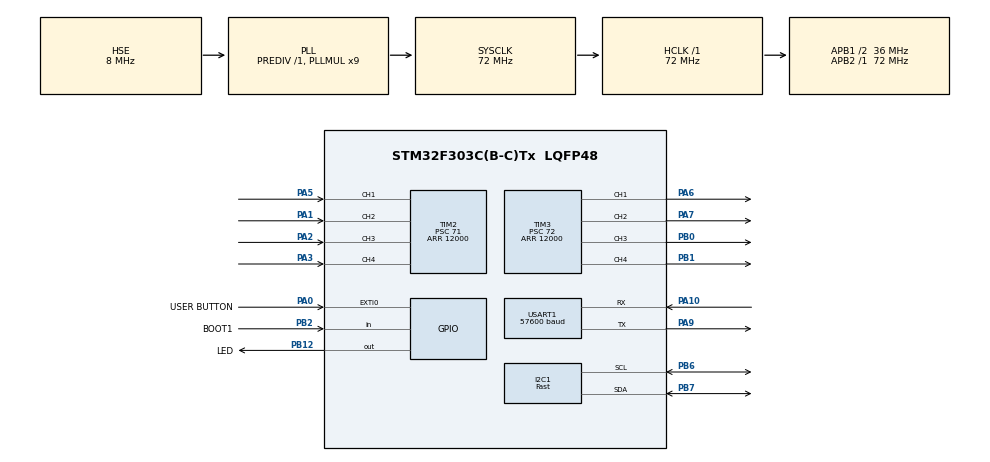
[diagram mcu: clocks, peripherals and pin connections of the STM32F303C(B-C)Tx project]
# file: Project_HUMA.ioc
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I2C1.I2C_Fall_Time=50
I2C1.I2C_Rise_Time=100
I2C1.I2C_Speed_Mode=I2C_Fast
I2C1.Timing=0x0010020A
Mcu.Family=STM32F3
Mcu.Name=STM32F303C(B-C)Tx
Mcu.Package=LQFP48
NVIC.I2C1_ER_IRQn=true\:0\:0\:false\:false\:true\:true\:true
NVIC.I2C1_EV_IRQn=true\:0\:0\:false\:false\:true\:true\:true
NVIC.PriorityGroup=NVIC_PRIORITYGROUP_4
NVIC.TIM2_IRQn=true\:0\:0\:false\:false\:true\:true\:true
NVIC.TIM3_IRQn=true\:0\:0\:false\:false\:true\:true\:true
NVIC.USART1_IRQn=true\:0\:0\:false\:false\:true\:true\:true
PA0.GPIO_Label=USER BUTTON
PA0.GPIO_ModeDefaultEXTI=GPIO_MODE_EVT_RISING
PA0.Signal=GPXTI0
PA1.GPIO_Speed=GPIO_SPEED_FREQ_HIGH
PA1.Signal=S_TIM2_CH2
PA10.Mode=Asynchronous
PA10.Signal=USART1_RX
PA13.Mode=Serial_Wire
PA13.Signal=SYS_JTMS-SWDIO
PA14.Mode=Serial_Wire
PA14.Signal=SYS_JTCK-SWCLK
PA2.GPIO_Speed=GPIO_SPEED_FREQ_HIGH
PA2.Signal=S_TIM2_CH3
PA3.GPIO_Speed=GPIO_SPEED_FREQ_HIGH
PA3.Signal=S_TIM2_CH4
PA5.GPIO_Speed=GPIO_SPEED_FREQ_HIGH
PA5.Signal=S_TIM2_CH1_ETR
PA6.GPIO_Speed=GPIO_SPEED_FREQ_HIGH
PA6.Signal=S_TIM3_CH1
PA7.GPIO_Speed=GPIO_SPEED_FREQ_HIGH
PA7.Signal=S_TIM3_CH2
PA9.Mode=Asynchronous
PA9.Signal=USART1_TX
PB0.GPIO_Speed=GPIO_SPEED_FREQ_HIGH
PB0.Signal=S_TIM3_CH3
PB1.GPIO_Speed=GPIO_SPEED_FREQ_HIGH
PB1.Signal=S_TIM3_CH4
PB12.GPIO_Label=LED
PB12.Signal=GPIO_Output
PB2.GPIO_Label=BOOT1
PB2.Signal=GPIO_Input
PB6.GPIO_FM6=SYSCFG_CFGR1_I2C_PB6_FMP
PB6.Mode=I2C
PB6.Signal=I2C1_SCL
PB7.GPIO_FM7=SYSCFG_CFGR1_I2C_PB7_FMP
PB7.Mode=I2C
PB7.Signal=I2C1_SDA
PC14-OSC32_IN.Mode=LSE-External-Oscillator
PC14-OSC32_IN.Signal=RCC_OSC32_IN
PC15-OSC32_OUT.Mode=LSE-External-Oscillator
PC15-OSC32_OUT.Signal=RCC_OSC32_OUT
PF0-OSC_IN.Mode=HSE-External-Oscillator
PF0-OSC_IN.Signal=RCC_OSC_IN
PF1-OSC_OUT.Mode=HSE-External-Oscillator
PF1-OSC_OUT.Signal=RCC_OSC_OUT
ProjectManager.HeapSize=0x200
ProjectManager.StackSize=0x400
ProjectManager.TargetToolchain=STM32CubeIDE
RCC.AHBFreq_Value=72000000
RCC.APB1CLKDivider=RCC_HCLK_DIV2
RCC.APB1Freq_Value=36000000
RCC.APB1TimFreq_Value=72000000
RCC.APB2Freq_Value=72000000
RCC.APB2TimFreq_Value=72000000
RCC.CortexFreq_Value=72000000
RCC.HCLKFreq_Value=72000000
RCC.HSE_VALUE=8000000
RCC.HSI_VALUE=8000000
RCC.PLLMUL=RCC_PLL_MUL9
RCC.PLLSourceVirtual=RCC_PLLSOURCE_HSE
RCC.SYSCLKFreq_VALUE=72000000
RCC.SYSCLKSourceVirtual=RCC_SYSCLKSOURCE_PLLCLK
RCC.USBFreq_Value=72000000
SH.S_TIM2_CH1_ETR.0=TIM2_CH1,Input_Capture1_from_TI1
SH.S_TIM2_CH2.0=TIM2_CH2,Input_Capture2_from_TI2
SH.S_TIM2_CH3.0=TIM2_CH3,Input_Capture3_from_TI3
SH.S_TIM2_CH4.0=TIM2_CH4,Input_Capture4_from_TI4
SH.S_TIM3_CH1.0=TIM3_CH1,PWM Generation1 CH1
SH.S_TIM3_CH2.0=TIM3_CH2,PWM Generation2 CH2
SH.S_TIM3_CH3.0=TIM3_CH3,PWM Generation3 CH3
SH.S_TIM3_CH4.0=TIM3_CH4,PWM Generation4 CH4
TIM2.Channel-Input_Capture1_from_TI1=TIM_CHANNEL_1
TIM2.Channel-Input_Capture2_from_TI2=TIM_CHANNEL_2
TIM2.Channel-Input_Capture3_from_TI3=TIM_CHANNEL_3
TIM2.Channel-Input_Capture4_from_TI4=TIM_CHANNEL_4
TIM2.Period=12000
TIM2.Prescaler=71
TIM3.Channel-PWM\ Generation1\ CH1=TIM_CHANNEL_1
TIM3.Channel-PWM\ Generation2\ CH2=TIM_CHANNEL_2
TIM3.Channel-PWM\ Generation3\ CH3=TIM_CHANNEL_3
TIM3.Channel-PWM\ Generation4\ CH4=TIM_CHANNEL_4
TIM3.OCFastMode_PWM-PWM\ Generation1\ CH1=TIM_OCFAST_ENABLE
TIM3.OCFastMode_PWM-PWM\ Generation2\ CH2=TIM_OCFAST_ENABLE
TIM3.OCFastMode_PWM-PWM\ Generation3\ CH3=TIM_OCFAST_ENABLE
TIM3.OCFastMode_PWM-PWM\ Generation4\ CH4=TIM_OCFAST_ENABLE
TIM3.Period=12000
TIM3.Prescaler=72
TIM3.Pulse-PWM\ Generation1\ CH1=1000
TIM3.Pulse-PWM\ Generation2\ CH2=1000
TIM3.Pulse-PWM\ Generation3\ CH3=1000
TIM3.Pulse-PWM\ Generation4\ CH4=1000
USART1.BaudRate=57600
USART1.VirtualMode-Asynchronous=VM_ASYNC
VP_TIM3_VS_ClockSourceINT.Mode=Internal
board=custom

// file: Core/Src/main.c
/* USER CODE BEGIN Header */
/**
  ******************************************************************************
  * @file           : main.c
  * @brief          : Main program body
  ******************************************************************************
  * @attention
  *
  * <h2><center>&copy; Copyright (c) 2020 STMicroelectronics.
  * All rights reserved.</center></h2>
  *
  * This software component is licensed by ST under BSD 3-Clause license,
  * the "License"; You may not use this file except in compliance with the
  * License. You may obtain a copy of the License at:
  *                        opensource.org/licenses/BSD-3-Clause
  *
  ******************************************************************************
  */
/* USER CODE END Header */
#include "main.h"

/* USER CODE BEGIN Includes */
#include "PWM_IC.h"
#include "L3GD20H.h"
///
#include "Setup_FC.h"
#include "ESC_Calibration.h"
#include "Flight_Control.h"

/* USER CODE END Includes */

/* USER CODE BEGIN PTD */
char uartTX[101];
///	Inputs
int receiver_input_channel_1, receiver_input_channel_2, receiver_input_channel_3, receiver_input_channel_4;
int16_t gX_Raw, gY_Raw, gZ_Raw;
///
bool gyro_error;
bool setup_error;
///	Outputs
int esc_1, esc_2, esc_3, esc_4;
double gyro_pitch, gyro_roll, gyro_yaw;
///
uint8_t eeprom_data8[32] = {0,0,0,0,0,0,0,0,0,0,0,0,0,0,0,0,0,0,0,0,0,0,0,0,0,0,0,0,0,0,0,0};
uint16_t eeprom_data16[32] = {0,0,0,0,0,0,0,0,0,0,0,0,0,0,0,0,0,0,0,0,0,0,0,0,0,0,0,0,0,0,0,0};
/* USER CODE END PTD */

I2C_HandleTypeDef hi2c1;

TIM_HandleTypeDef htim2;
TIM_HandleTypeDef htim3;

UART_HandleTypeDef huart1;

void SystemClock_Config(void);
static void MX_GPIO_Init(void);
static void MX_I2C1_Init(void);
static void MX_TIM2_Init(void);
static void MX_TIM3_Init(void);
static void MX_USART1_UART_Init(void);

int main(void)
{

  /* MCU Configuration--------------------------------------------------------*/

  /* Reset of all peripherals, Initializes the Flash interface and the Systick. */
  HAL_Init();

  /* Configure the system clock */
  SystemClock_Config();

  /* USER CODE BEGIN SysInit */
  HAL_Delay( 3000 );
  /* USER CODE END SysInit */

  /* Initialize all configured peripherals */
  MX_GPIO_Init();
  MX_I2C1_Init();
  MX_TIM2_Init();
  MX_TIM3_Init();
  MX_USART1_UART_Init();
  /* USER CODE BEGIN 2 */

	// Flash to EEPROM Array
	Flash_EEPROM_Data_Read( 127, 0x0803F800,  0, &eeprom_data16[0]);
	Flash_EEPROM_Data_Read( 127, 0x0803F800,  1, &eeprom_data16[1]);
	Flash_EEPROM_Data_Read( 127, 0x0803F800,  2, &eeprom_data16[2]);
	Flash_EEPROM_Data_Read( 127, 0x0803F800,  3, &eeprom_data16[3]);
	Flash_EEPROM_Data_Read( 127, 0x0803F800,  4, &eeprom_data16[4]);
	Flash_EEPROM_Data_Read( 127, 0x0803F800,  5, &eeprom_data16[5]);
	Flash_EEPROM_Data_Read( 127, 0x0803F800,  6, &eeprom_data16[6]);
	Flash_EEPROM_Data_Read( 127, 0x0803F800,  7, &eeprom_data16[7]);
	Flash_EEPROM_Data_Read( 127, 0x0803F800,  8, &eeprom_data16[8]);
	Flash_EEPROM_Data_Read( 127, 0x0803F800,  9, &eeprom_data16[9]);
	Flash_EEPROM_Data_Read( 127, 0x0803F800, 10, &eeprom_data16[10]);
	Flash_EEPROM_Data_Read( 127, 0x0803F800, 11, &eeprom_data16[11]);
	Flash_EEPROM_Data_Read( 127, 0x0803F800, 12, &eeprom_data16[12]);
	Flash_EEPROM_Data_Read( 127, 0x0803F800, 13, &eeprom_data16[13]);
	Flash_EEPROM_Data_Read( 127, 0x0803F800, 14, &eeprom_data16[14]);
	Flash_EEPROM_Data_Read( 127, 0x0803F800, 15, &eeprom_data16[15]);
	Flash_EEPROM_Data_Read( 127, 0x0803F800, 16, &eeprom_data16[16]);
	Flash_EEPROM_Data_Read( 127, 0x0803F800, 17, &eeprom_data16[17]);
	Flash_EEPROM_Data_Read( 127, 0x0803F800, 18, &eeprom_data16[18]);
	Flash_EEPROM_Data_Read( 127, 0x0803F800, 19, &eeprom_data16[19]);
	Flash_EEPROM_Data_Read( 127, 0x0803F800, 20, &eeprom_data16[20]);
	Flash_EEPROM_Data_Read( 127, 0x0803F800, 21, &eeprom_data16[21]);
	Flash_EEPROM_Data_Read( 127, 0x0803F800, 22, &eeprom_data16[22]);
	Flash_EEPROM_Data_Read( 127, 0x0803F800, 23, &eeprom_data16[23]);
	Flash_EEPROM_Data_Read( 127, 0x0803F800, 24, &eeprom_data16[24]);
	Flash_EEPROM_Data_Read( 127, 0x0803F800, 25, &eeprom_data16[25]);
	Flash_EEPROM_Data_Read( 127, 0x0803F800, 26, &eeprom_data16[26]);
	Flash_EEPROM_Data_Read( 127, 0x0803F800, 27, &eeprom_data16[27]);
	Flash_EEPROM_Data_Read( 127, 0x0803F800, 28, &eeprom_data16[28]);
	Flash_EEPROM_Data_Read( 127, 0x0803F800, 29, &eeprom_data16[29]);
	Flash_EEPROM_Data_Read( 127, 0x0803F800, 30, &eeprom_data16[30]);
	Flash_EEPROM_Data_Read( 127, 0x0803F800, 31, &eeprom_data16[31]);

  eeprom_data8[0]   = eeprom_data16[0];
  eeprom_data8[1]   = eeprom_data16[1];
  eeprom_data8[2]   = eeprom_data16[2];
  eeprom_data8[3]   = eeprom_data16[3];
  eeprom_data8[4]   = eeprom_data16[4];
  eeprom_data8[5]   = eeprom_data16[5];
  eeprom_data8[6]   = eeprom_data16[6];
  eeprom_data8[7]   = eeprom_data16[7];
  eeprom_data8[8]   = eeprom_data16[8];
  eeprom_data8[9]   = eeprom_data16[9];
  eeprom_data8[10]  = eeprom_data16[10];
  eeprom_data8[11]  = eeprom_data16[11];
  eeprom_data8[12]  = eeprom_data16[12];
  eeprom_data8[13]  = eeprom_data16[13];
  eeprom_data8[14]  = eeprom_data16[14];
  eeprom_data8[15]  = eeprom_data16[15];
  eeprom_data8[16]  = eeprom_data16[16];
  eeprom_data8[17]  = eeprom_data16[17];
  eeprom_data8[18]  = eeprom_data16[18];
  eeprom_data8[19]  = eeprom_data16[19];
  eeprom_data8[20]  = eeprom_data16[20];
  eeprom_data8[21]  = eeprom_data16[21];
  eeprom_data8[22]  = eeprom_data16[22];
  eeprom_data8[23]  = eeprom_data16[23];
  eeprom_data8[24]  = eeprom_data16[24];
  eeprom_data8[25]  = eeprom_data16[25];
  eeprom_data8[26]  = eeprom_data16[26];
  eeprom_data8[27]  = eeprom_data16[27];
  eeprom_data8[28]  = eeprom_data16[28];
  eeprom_data8[29]  = eeprom_data16[29];
  eeprom_data8[30]  = eeprom_data16[30];
  eeprom_data8[31]  = eeprom_data16[31];

	L3GD20H_Init();
	PWM_IC_Start();
	///
	HAL_Delay( 2500 );

	/////////////////////////////////////////////////////////////////////////

	if( gyro_error == false )
	{
		sprintf(uartTX, "                                                                                                    ");
		sprintf(uartTX, "\nSystem started!\n");
		HAL_UART_Transmit( &huart1, (uint8_t *)uartTX, sizeof(uartTX), 100 );
		HAL_Delay( 2500 );
	}
	else if( gyro_error == true )
	{
		  sprintf(uartTX, "                                                                                                    ");
		  sprintf(uartTX, "\nSystem failed to start!\n");
		  HAL_UART_Transmit( &huart1, (uint8_t *)uartTX, sizeof(uartTX), 100 );

		  while ( gyro_error ) {	} 		// Endless Loop
	}
	else
	{
		  sprintf(uartTX, "                                                                                                    ");
		  sprintf(uartTX, "\nOh shit!\n");
		  HAL_UART_Transmit( &huart1, (uint8_t *)uartTX, sizeof(uartTX), 100 );
	}

	/////////////////////////////////////////////////////////////////////////

	if ( eeprom_data8[31] == 92 && gyro_error == false )
	{
		while ( HAL_GPIO_ReadPin(GPIOA, GPIO_PIN_0) )
		{
			for (int i = 0; i <= 50000000; i++ )
			{
				if( i == 50000000 && HAL_GPIO_ReadPin(GPIOA, GPIO_PIN_0) )
				{
					sprintf(uartTX, "                                                                                                    ");
					sprintf(uartTX, "\nESC Calibration is starting! Reset after calibration!\n");
					HAL_UART_Transmit( &huart1, (uint8_t *)uartTX, sizeof(uartTX), 100 );

					ESC_Calibration();
				}
			}
		}

		sprintf(uartTX, "                                                                                                    ");
		sprintf(uartTX, "\nFlight Setup is starting!\n");
		HAL_UART_Transmit( &huart1, (uint8_t *)uartTX, sizeof(uartTX), 100 );

		Flight_Control_Setup();

		sprintf(uartTX, "                                                                                                    ");
		sprintf(uartTX, "\nFlight Setup is done! Ready to fly!\n");
		HAL_UART_Transmit( &huart1, (uint8_t *)uartTX, sizeof(uartTX), 100 );
	}
	else
	{
		setup_error = true;

		sprintf(uartTX, "                                                                                                    ");
		sprintf(uartTX, "\nMain Setup has not been done correctly!\n");
		HAL_UART_Transmit( &huart1, (uint8_t *)uartTX, sizeof(uartTX), 100 );

		while ( setup_error )
		{
			if ( HAL_GPIO_ReadPin(GPIOA, GPIO_PIN_0) )
			{
				for (int i = 0; i <= 50000000; i++ )
				{
					if( i == 50000000 && HAL_GPIO_ReadPin(GPIOA, GPIO_PIN_0) )
					{
						sprintf(uartTX, "                                                                                                    ");
						sprintf(uartTX, "\nSetup is starting..!\n");
						HAL_UART_Transmit( &huart1, (uint8_t *)uartTX, sizeof(uartTX), 100 );

						Main_Setup( );
					}
				}
			}
		}
	}

  /* USER CODE END 2 */

  /* Infinite loop */
  while (1)
  {

    /* USER CODE BEGIN 3 */

//	  Flight_Control_Loop();			// Causes HARDFAULT !!!

  }
  /* USER CODE END 3 */
}

void SystemClock_Config(void)
{
  RCC_OscInitTypeDef RCC_OscInitStruct = {0};
  RCC_ClkInitTypeDef RCC_ClkInitStruct = {0};
  RCC_PeriphCLKInitTypeDef PeriphClkInit = {0};

  /** Initializes the RCC Oscillators according to the specified parameters
  * in the RCC_OscInitTypeDef structure.
  */
  RCC_OscInitStruct.OscillatorType = RCC_OSCILLATORTYPE_HSI|RCC_OSCILLATORTYPE_HSE;
  RCC_OscInitStruct.HSEState = RCC_HSE_ON;
  RCC_OscInitStruct.HSEPredivValue = RCC_HSE_PREDIV_DIV1;
  RCC_OscInitStruct.HSIState = RCC_HSI_ON;
  RCC_OscInitStruct.HSICalibrationValue = RCC_HSICALIBRATION_DEFAULT;
  RCC_OscInitStruct.PLL.PLLState = RCC_PLL_ON;
  RCC_OscInitStruct.PLL.PLLSource = RCC_PLLSOURCE_HSE;
  RCC_OscInitStruct.PLL.PLLMUL = RCC_PLL_MUL9;
  if (HAL_RCC_OscConfig(&RCC_OscInitStruct) != HAL_OK)
  {
    Error_Handler();
  }
  /** Initializes the CPU, AHB and APB buses clocks
  */
  RCC_ClkInitStruct.ClockType = RCC_CLOCKTYPE_HCLK|RCC_CLOCKTYPE_SYSCLK
                              |RCC_CLOCKTYPE_PCLK1|RCC_CLOCKTYPE_PCLK2;
  RCC_ClkInitStruct.SYSCLKSource = RCC_SYSCLKSOURCE_PLLCLK;
  RCC_ClkInitStruct.AHBCLKDivider = RCC_SYSCLK_DIV1;
  RCC_ClkInitStruct.APB1CLKDivider = RCC_HCLK_DIV2;
  RCC_ClkInitStruct.APB2CLKDivider = RCC_HCLK_DIV1;

  if (HAL_RCC_ClockConfig(&RCC_ClkInitStruct, FLASH_LATENCY_2) != HAL_OK)
  {
    Error_Handler();
  }
  PeriphClkInit.PeriphClockSelection = RCC_PERIPHCLK_USART1|RCC_PERIPHCLK_I2C1;
  PeriphClkInit.Usart1ClockSelection = RCC_USART1CLKSOURCE_PCLK2;
  PeriphClkInit.I2c1ClockSelection = RCC_I2C1CLKSOURCE_HSI;
  if (HAL_RCCEx_PeriphCLKConfig(&PeriphClkInit) != HAL_OK)
  {
    Error_Handler();
  }
}

static void MX_I2C1_Init(void)
{

  hi2c1.Instance = I2C1;
  hi2c1.Init.Timing = 0x0010020A;
  hi2c1.Init.OwnAddress1 = 0;
  hi2c1.Init.AddressingMode = I2C_ADDRESSINGMODE_7BIT;
  hi2c1.Init.DualAddressMode = I2C_DUALADDRESS_DISABLE;
  hi2c1.Init.OwnAddress2 = 0;
  hi2c1.Init.OwnAddress2Masks = I2C_OA2_NOMASK;
  hi2c1.Init.GeneralCallMode = I2C_GENERALCALL_DISABLE;
  hi2c1.Init.NoStretchMode = I2C_NOSTRETCH_DISABLE;
  if (HAL_I2C_Init(&hi2c1) != HAL_OK)
  {
    Error_Handler();
  }
  /** Configure Analogue filter
  */
  if (HAL_I2CEx_ConfigAnalogFilter(&hi2c1, I2C_ANALOGFILTER_ENABLE) != HAL_OK)
  {
    Error_Handler();
  }
  /** Configure Digital filter
  */
  if (HAL_I2CEx_ConfigDigitalFilter(&hi2c1, 0) != HAL_OK)
  {
    Error_Handler();
  }

}

static void MX_TIM2_Init(void)
{

  TIM_MasterConfigTypeDef sMasterConfig = {0};
  TIM_IC_InitTypeDef sConfigIC = {0};

  htim2.Instance = TIM2;
  htim2.Init.Prescaler = 71;
  htim2.Init.CounterMode = TIM_COUNTERMODE_UP;
  htim2.Init.Period = 12000;
  htim2.Init.ClockDivision = TIM_CLOCKDIVISION_DIV1;
  htim2.Init.AutoReloadPreload = TIM_AUTORELOAD_PRELOAD_DISABLE;
  if (HAL_TIM_IC_Init(&htim2) != HAL_OK)
  {
    Error_Handler();
  }
  sMasterConfig.MasterOutputTrigger = TIM_TRGO_RESET;
  sMasterConfig.MasterSlaveMode = TIM_MASTERSLAVEMODE_DISABLE;
  if (HAL_TIMEx_MasterConfigSynchronization(&htim2, &sMasterConfig) != HAL_OK)
  {
    Error_Handler();
  }
  sConfigIC.ICPolarity = TIM_INPUTCHANNELPOLARITY_RISING;
  sConfigIC.ICSelection = TIM_ICSELECTION_DIRECTTI;
  sConfigIC.ICPrescaler = TIM_ICPSC_DIV1;
  sConfigIC.ICFilter = 0;
  if (HAL_TIM_IC_ConfigChannel(&htim2, &sConfigIC, TIM_CHANNEL_1) != HAL_OK)
  {
    Error_Handler();
  }
  if (HAL_TIM_IC_ConfigChannel(&htim2, &sConfigIC, TIM_CHANNEL_2) != HAL_OK)
  {
    Error_Handler();
  }
  if (HAL_TIM_IC_ConfigChannel(&htim2, &sConfigIC, TIM_CHANNEL_3) != HAL_OK)
  {
    Error_Handler();
  }
  if (HAL_TIM_IC_ConfigChannel(&htim2, &sConfigIC, TIM_CHANNEL_4) != HAL_OK)
  {
    Error_Handler();
  }

}

static void MX_TIM3_Init(void)
{

  TIM_ClockConfigTypeDef sClockSourceConfig = {0};
  TIM_MasterConfigTypeDef sMasterConfig = {0};
  TIM_OC_InitTypeDef sConfigOC = {0};

  htim3.Instance = TIM3;
  htim3.Init.Prescaler = 72;
  htim3.Init.CounterMode = TIM_COUNTERMODE_UP;
  htim3.Init.Period = 12000;
  htim3.Init.ClockDivision = TIM_CLOCKDIVISION_DIV1;
  htim3.Init.AutoReloadPreload = TIM_AUTORELOAD_PRELOAD_DISABLE;
  if (HAL_TIM_Base_Init(&htim3) != HAL_OK)
  {
    Error_Handler();
  }
  sClockSourceConfig.ClockSource = TIM_CLOCKSOURCE_INTERNAL;
  if (HAL_TIM_ConfigClockSource(&htim3, &sClockSourceConfig) != HAL_OK)
  {
    Error_Handler();
  }
  if (HAL_TIM_PWM_Init(&htim3) != HAL_OK)
  {
    Error_Handler();
  }
  sMasterConfig.MasterOutputTrigger = TIM_TRGO_RESET;
  sMasterConfig.MasterSlaveMode = TIM_MASTERSLAVEMODE_DISABLE;
  if (HAL_TIMEx_MasterConfigSynchronization(&htim3, &sMasterConfig) != HAL_OK)
  {
    Error_Handler();
  }
  sConfigOC.OCMode = TIM_OCMODE_PWM1;
  sConfigOC.Pulse = 1000;
  sConfigOC.OCPolarity = TIM_OCPOLARITY_HIGH;
  sConfigOC.OCFastMode = TIM_OCFAST_ENABLE;
  if (HAL_TIM_PWM_ConfigChannel(&htim3, &sConfigOC, TIM_CHANNEL_1) != HAL_OK)
  {
    Error_Handler();
  }
  if (HAL_TIM_PWM_ConfigChannel(&htim3, &sConfigOC, TIM_CHANNEL_2) != HAL_OK)
  {
    Error_Handler();
  }
  if (HAL_TIM_PWM_ConfigChannel(&htim3, &sConfigOC, TIM_CHANNEL_3) != HAL_OK)
  {
    Error_Handler();
  }
  if (HAL_TIM_PWM_ConfigChannel(&htim3, &sConfigOC, TIM_CHANNEL_4) != HAL_OK)
  {
    Error_Handler();
  }
  HAL_TIM_MspPostInit(&htim3);

}

static void MX_USART1_UART_Init(void)
{

  huart1.Instance = USART1;
  huart1.Init.BaudRate = 57600;
  huart1.Init.WordLength = UART_WORDLENGTH_8B;
  huart1.Init.StopBits = UART_STOPBITS_1;
  huart1.Init.Parity = UART_PARITY_NONE;
  huart1.Init.Mode = UART_MODE_TX_RX;
  huart1.Init.HwFlowCtl = UART_HWCONTROL_NONE;
  huart1.Init.OverSampling = UART_OVERSAMPLING_16;
  huart1.Init.OneBitSampling = UART_ONE_BIT_SAMPLE_DISABLE;
  huart1.AdvancedInit.AdvFeatureInit = UART_ADVFEATURE_NO_INIT;
  if (HAL_UART_Init(&huart1) != HAL_OK)
  {
    Error_Handler();
  }

}

static void MX_GPIO_Init(void)
{
  GPIO_InitTypeDef GPIO_InitStruct = {0};

  /* GPIO Ports Clock Enable */
  __HAL_RCC_GPIOC_CLK_ENABLE();
  __HAL_RCC_GPIOF_CLK_ENABLE();
  __HAL_RCC_GPIOA_CLK_ENABLE();
  __HAL_RCC_GPIOB_CLK_ENABLE();

  /*Configure GPIO pin Output Level */
  HAL_GPIO_WritePin(LED_GPIO_Port, LED_Pin, GPIO_PIN_RESET);

  /*Configure GPIO pin : USER_BUTTON_Pin */
  GPIO_InitStruct.Pin = USER_BUTTON_Pin;
  GPIO_InitStruct.Mode = GPIO_MODE_EVT_RISING;
  GPIO_InitStruct.Pull = GPIO_NOPULL;
  HAL_GPIO_Init(USER_BUTTON_GPIO_Port, &GPIO_InitStruct);

  /*Configure GPIO pin : BOOT1_Pin */
  GPIO_InitStruct.Pin = BOOT1_Pin;
  GPIO_InitStruct.Mode = GPIO_MODE_INPUT;
  GPIO_InitStruct.Pull = GPIO_NOPULL;
  HAL_GPIO_Init(BOOT1_GPIO_Port, &GPIO_InitStruct);

  /*Configure GPIO pin : LED_Pin */
  GPIO_InitStruct.Pin = LED_Pin;
  GPIO_InitStruct.Mode = GPIO_MODE_OUTPUT_PP;
  GPIO_InitStruct.Pull = GPIO_NOPULL;
  GPIO_InitStruct.Speed = GPIO_SPEED_FREQ_LOW;
  HAL_GPIO_Init(LED_GPIO_Port, &GPIO_InitStruct);

}

void Error_Handler(void)
{
}

/************************ (C) COPYRIGHT STMicroelectronics *****END OF FILE****/
